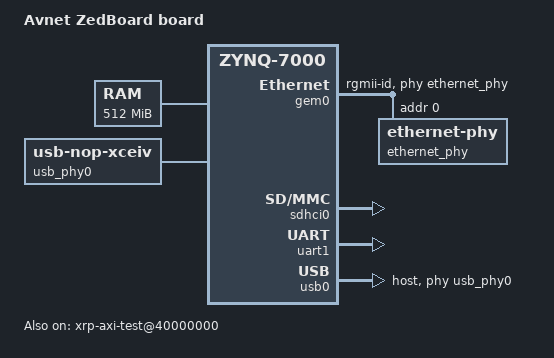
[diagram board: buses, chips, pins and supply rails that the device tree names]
// SPDX-License-Identifier: GPL-2.0
/*
 *  Derived from: arch/arm/boot/dts/zynq-zed.dts (in the Linux kernel)
 *
 *  Copyright (C) 2011 - 2014 Xilinx
 *  Copyright (C) 2012 National Instruments Corp.
 */
/dts-v1/;
#include "arm/zynq-7000.dtsi"

/ {
	model = "Avnet ZedBoard board";
	compatible = "avnet,zynq-zed", "xlnx,zynq-zed", "xlnx,zynq-7000";

	aliases {
		ethernet0 = &gem0;
		serial0 = &uart1;
		mmc0 = &sdhci0;
	};

	memory@0 {
		device_type = "memory";
		reg = <0x0 0x20000000>;
	};

	chosen {
		bootargs = "";
		stdout-path = "serial0:115200n8";
	};

	usb_phy0: phy0 {
		compatible = "usb-nop-xceiv";
		#phy-cells = <0>;
	};
};

&clkc {
	ps-clk-frequency = <33333333>;
};

&gem0 {
	status = "okay";
	phy-mode = "rgmii-id";
	phy-handle = <&ethernet_phy>;

	ethernet_phy: ethernet-phy@0 {
		reg = <0>;
		device_type = "ethernet-phy";
	};
};

&sdhci0 {
	status = "okay";
};

&uart1 {
	status = "okay";
};

&usb0 {
	status = "okay";
	dr_mode = "host";
	usb-phy = <&usb_phy0>;
};

&amba {
	xrp-axi-test@40000000 {
		status = "okay";
		compatible = "xrp,axi-test";
		reg = < 0x40000000 0x68 >;
		clocks = < &clkc 15 >;
		clock-names = "clk";
		interrupt-parent = <&intc>;
		interrupts = <0 29 4>, <0 30 4>;    // <type number flags>
		// (see Documentation/devicetree/bindings/interrupt-controller/arm,gic.yaml in the kernel source)
	};
};
